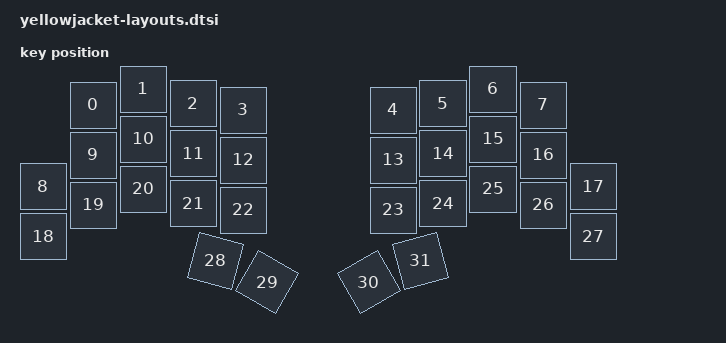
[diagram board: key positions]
#include <physical_layouts.dtsi>

/ {
    physical_layout0: physical_layout_0 {
        compatible = "zmk, physical-layout";
        display-name = "Default Layout";

        kscan = <&kscan0>;
        transform = <&keymap_transform_0>;

        keys  //                     w   h    x    y     rot    rx    ry
            = <&key_physical_attrs 100 100  100   32       0     0     0>
            , <&key_physical_attrs 100 100  200    0       0     0     0>
            , <&key_physical_attrs 100 100  300   29       0     0     0>
            , <&key_physical_attrs 100 100  400   42       0     0     0>
            , <&key_physical_attrs 100 100  700   42       0     0     0>
            , <&key_physical_attrs 100 100  800   29       0     0     0>
            , <&key_physical_attrs 100 100  900    0       0     0     0>
            , <&key_physical_attrs 100 100 1000   32       0     0     0>
            , <&key_physical_attrs 100 100    0  195       0     0     0>
            , <&key_physical_attrs 100 100  100  132       0     0     0>
            , <&key_physical_attrs 100 100  200  100       0     0     0>
            , <&key_physical_attrs 100 100  300  129       0     0     0>
            , <&key_physical_attrs 100 100  400  142       0     0     0>
            , <&key_physical_attrs 100 100  700  142       0     0     0>
            , <&key_physical_attrs 100 100  800  129       0     0     0>
            , <&key_physical_attrs 100 100  900  100       0     0     0>
            , <&key_physical_attrs 100 100 1000  132       0     0     0>
            , <&key_physical_attrs 100 100 1100  195       0     0     0>
            , <&key_physical_attrs 100 100    0  295       0     0     0>
            , <&key_physical_attrs 100 100  100  232       0     0     0>
            , <&key_physical_attrs 100 100  200  200       0     0     0>
            , <&key_physical_attrs 100 100  300  229       0     0     0>
            , <&key_physical_attrs 100 100  400  242       0     0     0>
            , <&key_physical_attrs 100 100  700  242       0     0     0>
            , <&key_physical_attrs 100 100  800  229       0     0     0>
            , <&key_physical_attrs 100 100  900  200       0     0     0>
            , <&key_physical_attrs 100 100 1000  232       0     0     0>
            , <&key_physical_attrs 100 100 1100  295       0     0     0>
            , <&key_physical_attrs 100 100  330  355    1500   430   455>
            , <&key_physical_attrs 100 100  430  355    3000   430   455>
            , <&key_physical_attrs 100 100  670  355 (-3000)   770   455>
            , <&key_physical_attrs 100 100  770  355 (-1500)   770   455>
            ;
    };

    position_map {
        compatible = "zmk,physical-layout-position-map";
        complete;
        layout1: layout1 {
            physical-layout = <&physical_layout0>;
            positions =
                <     0  1  2  3          4  5  6  7   >
                <  8  9 10 11 12         13 14 15 16 17>,
                < 18 19 20 21 22         23 24 25 26 27>,
                <             28 29   30 31            >;
        };
    };
};
